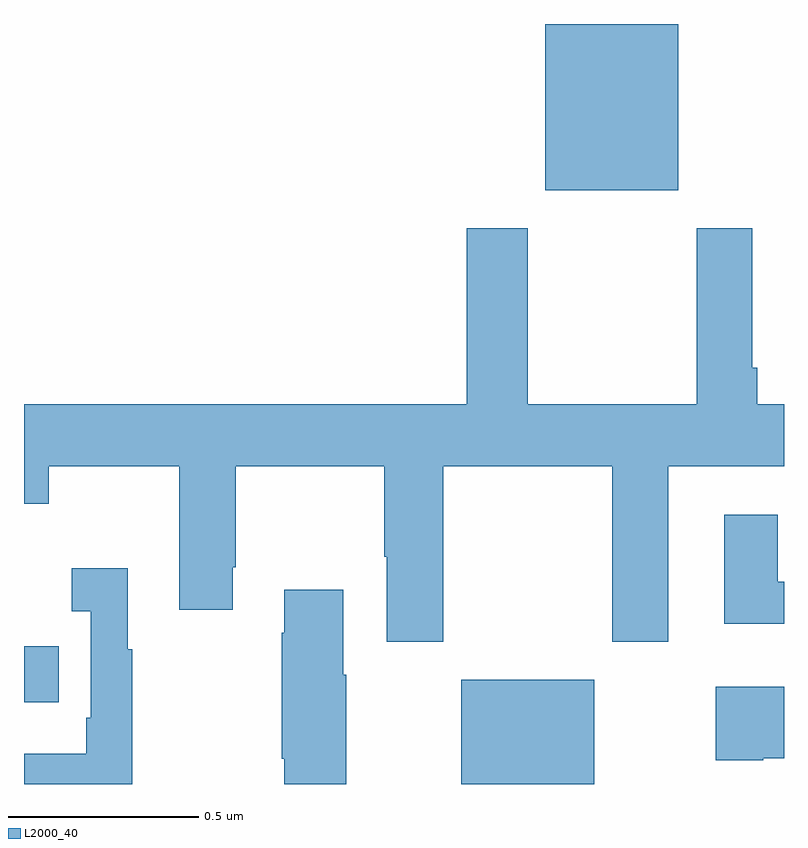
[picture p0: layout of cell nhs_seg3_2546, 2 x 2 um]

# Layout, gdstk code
import gdstk
lib = gdstk.Library(unit=1e-6, precision=1e-09)
def R(c, l, rs):  # rectangles x0, y0, x1, y1
    for r in rs: c.add(gdstk.rectangle(r[:2], r[2:], *l))
def P(c, l, *ps):  # polygons
    for p in ps: c.add(gdstk.Polygon(p, *l))
L2000_40 = (2000, 40)

nhs_seg3_2546 = lib.new_cell('nhs_seg3_2546')
R(nhs_seg3_2546, L2000_40, [(143.15,713.4,143.5,713.674), (142,713.615,142.091,713.763), (143.372,714.962,143.722,715.4)])
P(nhs_seg3_2546, L2000_40, [(143.103,714.236),(143.548,714.236),(143.548,713.775),(143.695,713.775),(143.695,714.236),(144,714.236),(144,714.4),(143.93,714.4),(143.93,714.496),(143.917,714.496),(143.917,714.862),(143.77,714.862),(143.77,714.4),(143.325,714.4),(143.325,714.862),(143.165,714.862),(143.165,714.4),(142,714.4),(142,714.137),(142.065,714.137),(142.065,714.236),(142.409,714.236),(142.409,713.859),(142.549,713.859),(142.549,713.971),(142.557,713.971),(142.557,714.236),(142.948,714.236),(142.948,713.998),(142.955,713.998),(142.955,713.775),(143.103,713.775)],
  [(144,713.932),(143.983,713.932),(143.983,714.109),(143.843,714.109),(143.843,713.822),(144,713.822)],
  [(142.285,713.755),(142.273,713.755),(142.273,713.968),(142.125,713.968),(142.125,713.855),(142.176,713.855),(142.176,713.575),(142.164,713.575),(142.164,713.479),(142,713.479),(142,713.4),(142.285,713.4)],
  [(142.848,713.687),(142.84,713.687),(142.84,713.911),(142.685,713.911),(142.685,713.798),(142.678,713.798),(142.678,713.467),(142.685,713.467),(142.685,713.4),(142.848,713.4)],
  [(143.946,713.468),(144,713.468),(144,713.656),(143.821,713.656),(143.821,713.462),(143.946,713.462)])

lib.write_gds('nhs_seg3_2546.gds')
